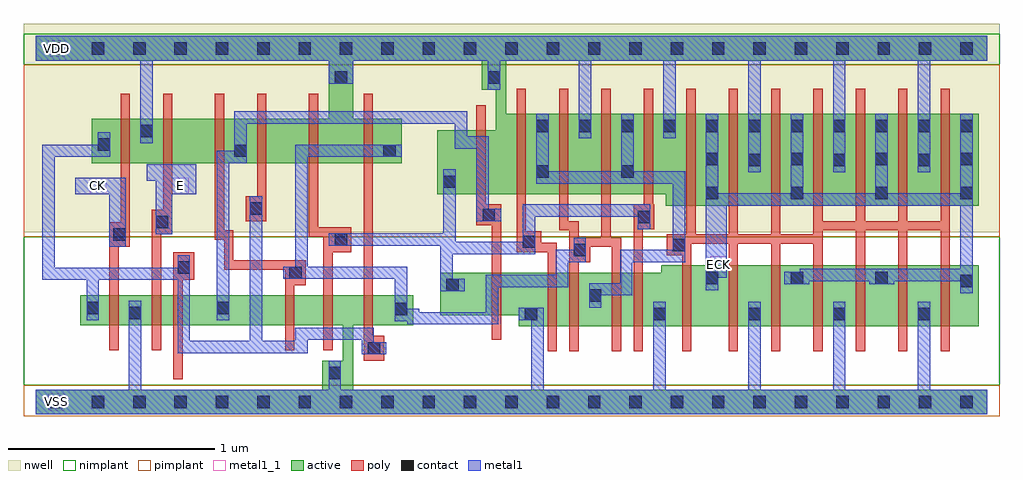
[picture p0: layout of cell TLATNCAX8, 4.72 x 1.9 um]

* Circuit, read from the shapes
.subckt TLATNCAX8 CK E ECK VDD VSS
M1 VSS CK n1 VSS nfet w=0.145u l=0.045u
M2 n2 E VSS VSS nfet w=0.145u l=0.045u
M3 n3 n1 n2 VSS nfet w=0.145u l=0.045u
M4 n4 n5 n3 VSS nfet w=0.145u l=0.045u
M5 VSS n6 n4 VSS nfet w=0.145u l=0.045u
M6 n5 n1 VSS VSS nfet w=0.145u l=0.045u
M7 VSS n3 n6 VSS nfet w=0.205u l=0.045u
M8 n7 n6 VSS VSS nfet w=0.26u l=0.045u
M9 n8 n5 n7 VSS nfet w=0.26u l=0.045u
M10 n9 n5 n8 VSS nfet w=0.26u l=0.045u
M11 VSS n6 n9 VSS nfet w=0.26u l=0.045u
M12 ECK n8 VSS VSS nfet w=0.295u l=0.045u m=7
M13 VDD CK n1 VDD pfet w=0.215u l=0.045u
M14 n10 E VDD VDD pfet w=0.215u l=0.045u
M15 n3 n5 n10 VDD pfet w=0.215u l=0.045u
M16 n11 n1 n3 VDD pfet w=0.215u l=0.045u
M17 VDD n6 n11 VDD pfet w=0.215u l=0.045u
M18 n5 n1 VDD VDD pfet w=0.215u l=0.045u
M19 VDD n3 n6 VDD pfet w=0.31u l=0.045u
M20 n8 n6 VDD VDD pfet w=0.39u l=0.045u m=2
M21 VDD n5 n8 VDD pfet w=0.39u l=0.045u m=2
M22 ECK n8 VDD VDD pfet w=0.445u l=0.045u m=7
.ends

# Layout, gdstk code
import gdstk
lib = gdstk.Library(unit=1e-6, precision=5e-10)
def R(c, l, rs):  # rectangles x0, y0, x1, y1
    for r in rs: c.add(gdstk.rectangle(r[:2], r[2:], *l))
def A(c, l, x, y, w, h, nx, ny, dx, dy):  # array of equal rectangles
    R(c, l, [(x+i*dx, y+j*dy, x+i*dx+w, y+j*dy+h) for i in range(nx) for j in range(ny)])
def P(c, l, *ps):  # polygons
    for p in ps: c.add(gdstk.Polygon(p, *l))
active = (1, 0)
nwell = (2, 0)
poly = (3, 0)
nimplant = (4, 0)
pimplant = (5, 0)
contact = (6, 0)
metal1 = (7, 0)
metal1_1 = (7, 1)

tlatncax8 = lib.new_cell('TLATNCAX8')
P(tlatncax8, active, [(0,1.77),(4.6,1.77),(4.6,1.65),(2.275,1.65),(2.275,1.395),(4.56,1.395),(4.56,0.95),(3.045,0.95),(3.045,1.005),(1.94,1.005),(1.94,1.315),(2.225,1.315),(2.225,1.51),(2.155,1.51),(2.155,1.65),(1.535,1.65),(1.535,1.37),(1.77,1.37),(1.77,1.155),(0.27,1.155),(0.27,1.37),(1.415,1.37),(1.415,1.65),(0,1.65)],
  [(0.215,0.515),(1.825,0.515),(1.825,0.37),(1.535,0.37),(1.535,0.06),(4.6,0.06),(4.6,-0.06),(0,-0.06),(0,0.06),(1.385,0.06),(1.385,0.2),(1.485,0.2),(1.485,0.37),(0.215,0.37)],
  [(3.025,0.66),(4.56,0.66),(4.56,0.365),(2.335,0.365),(2.335,0.42),(1.955,0.42),(1.955,0.625),(3.025,0.625)])
R(tlatncax8, nwell, [(-0.06,0.82,4.66,1.83)])
P(tlatncax8, poly, [(0.41,1.49),(0.455,1.49),(0.455,0.75),(0.4,0.75),(0.4,0.25),(0.355,0.25),(0.355,0.87),(0.41,0.87)],
  [(0.615,1.49),(0.66,1.49),(0.66,0.81),(0.605,0.81),(0.605,0.25),(0.56,0.25),(0.56,0.93),(0.615,0.93)],
  [(0.865,1.49),(0.91,1.49),(0.91,0.83),(0.955,0.83),(0.955,0.685),(1.305,0.685),(1.305,0.565),(1.25,0.565),(1.25,0.25),(1.205,0.25),(1.205,0.64),(0.91,0.64),(0.91,0.785),(0.865,0.785)],
  [(1.07,1.49),(1.115,1.49),(1.115,0.875),(1.015,0.875),(1.015,0.995),(1.07,0.995)],
  [(1.32,1.49),(1.365,1.49),(1.365,0.845),(1.525,0.845),(1.525,0.725),(1.435,0.725),(1.435,0.25),(1.39,0.25),(1.39,0.8),(1.32,0.8)],
  [(1.585,1.49),(1.63,1.49),(1.63,0.32),(1.685,0.32),(1.685,0.2),(1.585,0.2)],
  [(2.13,1.435),(2.175,1.435),(2.175,0.955),(2.25,0.955),(2.25,0.3),(2.205,0.3),(2.205,0.855),(2.13,0.855)],
  [(2.325,1.515),(2.37,1.515),(2.37,0.825),(2.445,0.825),(2.445,0.77),(2.52,0.77),(2.52,0.245),(2.475,0.245),(2.475,0.725),(2.325,0.725)],
  [(2.53,1.515),(2.575,1.515),(2.575,0.875),(2.625,0.875),(2.625,0.795),(2.735,0.795),(2.735,1.515),(2.78,1.515),(2.78,0.795),(2.83,0.795),(2.83,0.245),(2.785,0.245),(2.785,0.75),(2.68,0.75),(2.68,0.675),(2.625,0.675),(2.625,0.245),(2.58,0.245),(2.58,0.83),(2.53,0.83)],
  [(2.94,1.515),(2.985,1.515),(2.985,0.955),(2.99,0.955),(2.99,0.835),(2.935,0.835),(2.935,0.245),(2.89,0.245),(2.89,0.955),(2.94,0.955)],
  [(3.145,1.515),(3.19,1.515),(3.19,0.81),(3.35,0.81),(3.35,1.515),(3.395,1.515),(3.395,0.81),(3.555,0.81),(3.555,1.515),(3.6,1.515),(3.6,0.81),(3.76,0.81),(3.76,1.515),(3.805,1.515),(3.805,0.875),(3.965,0.875),(3.965,1.515),(4.01,1.515),(4.01,0.875),(4.17,0.875),(4.17,1.515),(4.215,1.515),(4.215,0.875),(4.375,0.875),(4.375,1.515),(4.42,1.515),(4.42,0.245),(4.375,0.245),(4.375,0.83),(4.215,0.83),(4.215,0.245),(4.17,0.245),(4.17,0.83),(4.01,0.83),(4.01,0.245),(3.965,0.245),(3.965,0.83),(3.805,0.83),(3.805,0.245),(3.76,0.245),(3.76,0.765),(3.6,0.765),(3.6,0.245),(3.555,0.245),(3.555,0.765),(3.395,0.765),(3.395,0.245),(3.35,0.245),(3.35,0.765),(3.17,0.765),(3.17,0.245),(3.125,0.245),(3.125,0.71),(3.05,0.71),(3.05,0.81),(3.145,0.81)],
  [(0.665,0.725),(0.765,0.725),(0.765,0.59),(0.71,0.59),(0.71,0.11),(0.665,0.11)])
R(tlatncax8, nimplant, [(-0.06,0.08,4.66,0.8), (-0.06,1.63,4.66,1.78)])
R(tlatncax8, pimplant, [(-0.06,-0.07,4.66,0.08), (-0.06,0.8,4.66,1.63)])
A(tlatncax8, contact, 0.07, -0.03, 0.06, 0.06, 23, 2, 0.2, 1.71)
A(tlatncax8, contact, 3.445, 0.395, 0.06, 0.06, 3, 2, 0.41, 0.745)
A(tlatncax8, contact, 3.24, 0.57, 0.06, 0.06, 3, 1, 0.41, 0)
A(tlatncax8, contact, 3.24, 0.98, 0.06, 0.06, 4, 2, 0.41, 0.165)
A(tlatncax8, contact, 2.42, 1.305, 0.06, 0.06, 11, 1, 0.205, 0)
R(tlatncax8, contact, [(1.415,0.11,1.475,0.17), (1.605,0.23,1.665,0.29), (2.365,0.395,2.425,0.455), (2.985,0.395,3.045,0.455), (0.45,0.4,0.51,0.46), (1.735,0.42,1.795,0.48), (0.245,0.425,0.305,0.485), (0.875,0.425,0.935,0.485), (2.675,0.485,2.735,0.545), (1.985,0.535,2.045,0.595), (4.47,0.555,4.53,0.615), (1.225,0.595,1.285,0.655), (0.685,0.62,0.745,0.68), (2.6,0.705,2.66,0.765), (3.08,0.73,3.14,0.79), (2.355,0.745,2.415,0.805), (1.445,0.755,1.505,0.815), (0.375,0.78,0.435,0.84), (0.58,0.84,0.64,0.9), (2.91,0.865,2.97,0.925), (2.16,0.875,2.22,0.935), (1.035,0.905,1.095,0.965), (1.97,1.035,2.03,1.095), (2.42,1.085,2.48,1.145), (2.83,1.085,2.89,1.145), (0.96,1.185,1.02,1.245), (1.68,1.185,1.74,1.245), (0.3,1.215,0.36,1.275), (0.505,1.28,0.565,1.34), (1.445,1.54,1.505,1.6), (2.185,1.54,2.245,1.6)])
P(tlatncax8, metal1, [(0,1.77),(4.6,1.77),(4.6,1.65),(4.325,1.65),(4.325,1.11),(4.265,1.11),(4.265,1.65),(3.915,1.65),(3.915,1.11),(3.855,1.11),(3.855,1.65),(3.505,1.65),(3.505,1.11),(3.445,1.11),(3.445,1.65),(3.095,1.65),(3.095,1.275),(3.035,1.275),(3.035,1.65),(2.685,1.65),(2.685,1.275),(2.625,1.275),(2.625,1.65),(2.245,1.65),(2.245,1.51),(2.185,1.51),(2.185,1.65),(1.535,1.65),(1.535,1.54),(1.415,1.54),(1.415,1.65),(0.565,1.65),(0.565,1.25),(0.505,1.25),(0.505,1.65),(0,1.65)],
  [(0.3,1.305),(0.36,1.305),(0.36,1.185),(0.09,1.185),(0.09,0.65),(0.685,0.65),(0.685,0.71),(0.745,0.71),(0.745,0.295),(1.035,0.295),(1.035,0.995),(1.095,0.995),(1.095,0.295),(1.255,0.295),(1.255,0.36),(1.635,0.36),(1.635,0.29),(1.695,0.29),(1.695,0.23),(1.575,0.23),(1.575,0.3),(1.315,0.3),(1.315,0.235),(0.685,0.235),(0.685,0.59),(0.305,0.59),(0.305,0.395),(0.245,0.395),(0.245,0.59),(0.03,0.59),(0.03,1.245),(0.3,1.245)],
  [(0.96,1.405),(2.085,1.405),(2.085,1.285),(2.19,1.285),(2.19,0.935),(2.25,0.935),(2.25,0.875),(2.13,0.875),(2.13,1.225),(2.025,1.225),(2.025,1.345),(1.02,1.345),(1.02,1.155),(0.935,1.155),(0.935,0.395),(0.875,0.395),(0.875,1.215),(0.96,1.215)],
  [(1.255,1.245),(1.77,1.245),(1.77,1.185),(1.315,1.185),(1.315,0.655),(1.795,0.655),(1.795,0.45),(1.855,0.45),(1.855,0.435),(2.175,0.435),(2.175,0.615),(2.515,0.615),(2.515,0.735),(2.6,0.735),(2.6,0.795),(2.66,0.795),(2.66,0.675),(2.575,0.675),(2.575,0.555),(2.235,0.555),(2.235,0.375),(1.795,0.375),(1.795,0.39),(1.735,0.39),(1.735,0.595),(1.195,0.595),(1.195,0.655),(1.255,0.655)],
  [(0.535,1.15),(0.775,1.15),(0.775,1.005),(0.66,1.005),(0.66,0.81),(0.58,0.81),(0.58,1.07),(0.535,1.07)],
  [(0.19,1.085),(0.435,1.085),(0.435,0.75),(0.355,0.75),(0.355,1.005),(0.19,1.005)],
  [(0.45,0.49),(0.51,0.49),(0.51,0.06),(1.415,0.06),(1.415,0.2),(1.475,0.2),(1.475,0.06),(2.395,0.06),(2.395,0.395),(2.335,0.395),(2.335,0.455),(2.455,0.455),(2.455,0.06),(2.985,0.06),(2.985,0.485),(3.045,0.485),(3.045,0.06),(3.445,0.06),(3.445,0.485),(3.505,0.485),(3.505,0.06),(3.855,0.06),(3.855,0.485),(3.915,0.485),(3.915,0.06),(4.265,0.06),(4.265,0.485),(4.325,0.485),(4.325,0.06),(4.6,0.06),(4.6,-0.06),(0,-0.06),(0,0.06),(0.45,0.06)],
  [(1.97,1.125),(2.03,1.125),(2.03,0.775),(2.355,0.775),(2.355,0.955),(2.97,0.955),(2.97,0.835),(2.91,0.835),(2.91,0.895),(2.415,0.895),(2.415,0.715),(2.015,0.715),(2.015,0.595),(2.075,0.595),(2.075,0.535),(1.955,0.535),(1.955,0.755),(1.415,0.755),(1.415,0.815),(1.97,0.815)],
  [(2.42,1.395),(2.48,1.395),(2.48,1.115),(2.83,1.115),(2.83,1.395),(2.89,1.395),(2.89,1.115),(3.14,1.115),(3.14,0.675),(2.885,0.675),(2.885,0.515),(2.735,0.515),(2.735,0.455),(2.675,0.455),(2.675,0.575),(2.825,0.575),(2.825,0.735),(3.08,0.735),(3.08,1.055),(2.42,1.055)],
  [(3.24,1.395),(3.3,1.395),(3.3,1.01),(3.65,1.01),(3.65,1.395),(3.71,1.395),(3.71,1.01),(4.06,1.01),(4.06,1.395),(4.12,1.395),(4.12,1.01),(4.47,1.01),(4.47,1.395),(4.53,1.395),(4.53,0.525),(4.47,0.525),(4.47,0.585),(4.15,0.585),(4.15,0.57),(4.03,0.57),(4.03,0.585),(3.74,0.585),(3.74,0.57),(3.62,0.57),(3.62,0.63),(3.695,0.63),(3.695,0.645),(4.47,0.645),(4.47,0.95),(3.34,0.95),(3.34,0.6),(3.3,0.6),(3.3,0.54),(3.24,0.54)])
R(tlatncax8, metal1_1, [(0.06,-0.04,0.14,0.04), (3.26,0.625,3.34,0.705), (0.26,1.005,0.34,1.085), (0.66,1.005,0.74,1.085), (0.06,1.67,0.14,1.75)])
tlatncax8.add(gdstk.Label('ECK', (3.3,0.665), layer=7, texttype=1))
tlatncax8.add(gdstk.Label('E', (0.7,1.045), layer=7, texttype=1))
tlatncax8.add(gdstk.Label('CK', (0.3,1.045), layer=7, texttype=1))
tlatncax8.add(gdstk.Label('VDD', (0.1,1.71), layer=7, texttype=1))
tlatncax8.add(gdstk.Label('VSS', (0.1,0), layer=7, texttype=1))
tlatncax8.add(gdstk.Label('TLATNCAX8', (0,0), layer=63, texttype=0))

lib.write_gds('TLATNCAX8.gds')
